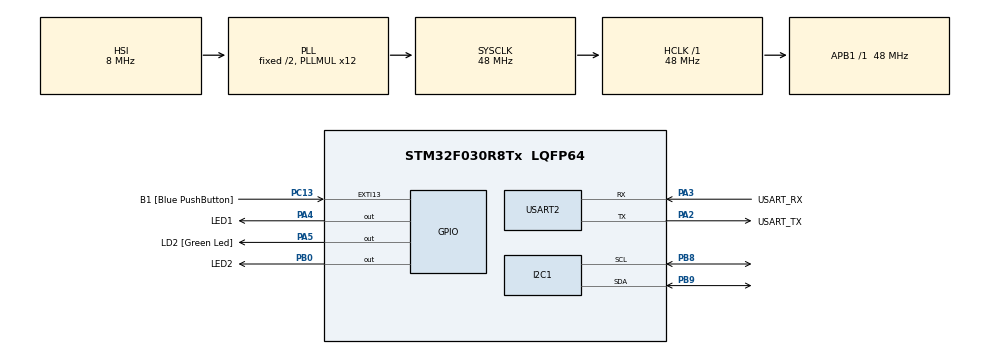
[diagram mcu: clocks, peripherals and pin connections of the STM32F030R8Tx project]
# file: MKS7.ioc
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FREERTOS.Queues01=xVisualQueue,16,int16_t,0,Dynamic,NULL,NULL
FREERTOS.Tasks01=defaultTask,0,128,StartDefaultTask,Default,NULL,Dynamic,NULL,NULL;AcceleroTask,0,128,StartAcceleroTask,Default,NULL,Dynamic,NULL,NULL;VisualTask,0,128,StartVisualTask,Default,NULL,Dynamic,NULL,NULL
FREERTOS.configUSE_NEWLIB_REENTRANT=1
I2C1.Timing=0x00201D2B
Mcu.Family=STM32F0
Mcu.Name=STM32F030R8Tx
Mcu.Package=LQFP64
NVIC.TIM14_IRQn=true\:3\:0\:false\:false\:true\:false\:false\:true\:true
NVIC.TimeBase=TIM14_IRQn
NVIC.TimeBaseIP=TIM14
PA13.GPIO_Label=TMS
PA13.Mode=Serial_Wire
PA13.Signal=SYS_SWDIO
PA14.GPIO_Label=TCK
PA14.Mode=Serial_Wire
PA14.Signal=SYS_SWCLK
PA2.GPIO_Label=USART_TX
PA2.GPIO_Mode=GPIO_MODE_AF_PP
PA2.GPIO_PuPd=GPIO_NOPULL
PA2.GPIO_Speed=GPIO_SPEED_FREQ_LOW
PA2.Mode=Asynchronous
PA2.Signal=USART2_TX
PA3.GPIO_Label=USART_RX
PA3.GPIO_Mode=GPIO_MODE_AF_PP
PA3.GPIO_PuPd=GPIO_NOPULL
PA3.GPIO_Speed=GPIO_SPEED_FREQ_LOW
PA3.Mode=Asynchronous
PA3.Signal=USART2_RX
PA4.GPIO_Label=LED1
PA4.Signal=GPIO_Output
PA5.GPIO_Label=LD2 [Green Led]
PA5.GPIO_Mode=GPIO_MODE_OUTPUT_PP
PA5.GPIO_PuPd=GPIO_NOPULL
PA5.GPIO_Speed=GPIO_SPEED_FREQ_LOW
PA5.Signal=GPIO_Output
PB0.GPIO_Label=LED2
PB0.Signal=GPIO_Output
PB8.Mode=I2C
PB8.Signal=I2C1_SCL
PB9.Mode=I2C
PB9.Signal=I2C1_SDA
PC13.GPIO_Label=B1 [Blue PushButton]
PC13.GPIO_ModeDefaultEXTI=GPIO_MODE_IT_FALLING
PC13.Signal=GPXTI13
PC14-OSC32_IN.Mode=LSE-External-Oscillator
PC14-OSC32_IN.Signal=RCC_OSC32_IN
PC15-OSC32_OUT.Mode=LSE-External-Oscillator
PC15-OSC32_OUT.Signal=RCC_OSC32_OUT
PF0-OSC_IN.Mode=HSE-External-Clock-Source
PF0-OSC_IN.Signal=RCC_OSC_IN
PF1-OSC_OUT.Signal=RCC_OSC_OUT
ProjectManager.HeapSize=0x200
ProjectManager.StackSize=0x400
ProjectManager.TargetToolchain=STM32CubeIDE
RCC.AHBFreq_Value=48000000
RCC.APB1Freq_Value=48000000
RCC.APB1TimFreq_Value=48000000
RCC.HCLKFreq_Value=48000000
RCC.PLLMUL=RCC_PLL_MUL12
RCC.SYSCLKFreq_VALUE=48000000
RCC.SYSCLKSource=RCC_SYSCLKSOURCE_PLLCLK
USART2.VirtualMode-Asynchronous=VM_ASYNC
VP_FREERTOS_VS_CMSIS_V1.Mode=CMSIS_V1
VP_SYS_VS_tim14.Mode=TIM14
board=NUCLEO-F030R8

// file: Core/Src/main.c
/* USER CODE BEGIN Header */
/**
  ******************************************************************************
  * @file           : main.c
  * @brief          : Main program body
  ******************************************************************************
  * @attention
  *
  * Copyright (c) 2025 STMicroelectronics.
  * All rights reserved.
  *
  * This software is licensed under terms that can be found in the LICENSE file
  * in the root directory of this software component.
  * If no LICENSE file comes with this software, it is provided AS-IS.
  *
  ******************************************************************************
  */
/* USER CODE END Header */
#include "main.h"
#include "cmsis_os.h"

/* USER CODE BEGIN Includes */
#include "lis2dw12_reg.h"
#include <stdio.h>
/* USER CODE END Includes */

I2C_HandleTypeDef hi2c1;

UART_HandleTypeDef huart2;

osThreadId defaultTaskHandle;
osThreadId AcceleroTaskHandle;
osThreadId VisualTaskHandle;
osMessageQId xVisualQueueHandle;

void SystemClock_Config(void);
static void MX_GPIO_Init(void);
static void MX_USART2_UART_Init(void);
static void MX_I2C1_Init(void);
void StartDefaultTask(void const * argument);
void StartAcceleroTask(void const * argument);
void StartVisualTask(void const * argument);

/* USER CODE BEGIN PFP */
static int32_t platform_write(void *handle, uint8_t reg, uint8_t *bufp, uint16_t len);
static int32_t platform_read(void *handle, uint8_t reg, uint8_t *bufp, uint16_t len);
static stmdev_ctx_t lis2dw12 = {
 .write_reg = platform_write,
 .read_reg = platform_read,
 .handle = &hi2c1,
};

static int32_t platform_write(void *handle, uint8_t reg, uint8_t *bufp, uint16_t len)
{
	HAL_I2C_Mem_Write(handle, LIS2DW12_I2C_ADD_H, reg, I2C_MEMADD_SIZE_8BIT, bufp, len, 1000);
	return 0;
}
static int32_t platform_read(void *handle, uint8_t reg, uint8_t *bufp, uint16_t len)
{
	HAL_I2C_Mem_Read(handle, LIS2DW12_I2C_ADD_H, reg, I2C_MEMADD_SIZE_8BIT, bufp, len, 1000);
	return 0;
}
/* USER CODE END PFP */

int _write(int file, char const *buf, int n)
{
	/* stdout redirection to UART2 */
	HAL_UART_Transmit(&huart2, (uint8_t*)(buf), n, HAL_MAX_DELAY);
	return n;
}

int main(void)
{

  /* MCU Configuration--------------------------------------------------------*/

  /* Reset of all peripherals, Initializes the Flash interface and the Systick. */
  HAL_Init();

  /* Configure the system clock */
  SystemClock_Config();

  /* Initialize all configured peripherals */
  MX_GPIO_Init();
  MX_USART2_UART_Init();
  MX_I2C1_Init();

  /* Create the queue(s) */
  /* definition and creation of xVisualQueue */
  osMessageQDef(xVisualQueue, 16, int16_t);
  xVisualQueueHandle = osMessageCreate(osMessageQ(xVisualQueue), NULL);

  /* Create the thread(s) */
  /* definition and creation of defaultTask */
  osThreadDef(defaultTask, StartDefaultTask, osPriorityNormal, 0, 128);
  defaultTaskHandle = osThreadCreate(osThread(defaultTask), NULL);

  /* definition and creation of AcceleroTask */
  osThreadDef(AcceleroTask, StartAcceleroTask, osPriorityNormal, 0, 128);
  AcceleroTaskHandle = osThreadCreate(osThread(AcceleroTask), NULL);

  /* definition and creation of VisualTask */
  osThreadDef(VisualTask, StartVisualTask, osPriorityNormal, 0, 128);
  VisualTaskHandle = osThreadCreate(osThread(VisualTask), NULL);

  /* Start scheduler */
  osKernelStart();

  /* We should never get here as control is now taken by the scheduler */

  /* Infinite loop */
  while (1)
  {

  }
}

void SystemClock_Config(void)
{
  RCC_OscInitTypeDef RCC_OscInitStruct = {0};
  RCC_ClkInitTypeDef RCC_ClkInitStruct = {0};
  RCC_PeriphCLKInitTypeDef PeriphClkInit = {0};

  /** Initializes the RCC Oscillators according to the specified parameters
  * in the RCC_OscInitTypeDef structure.
  */
  RCC_OscInitStruct.OscillatorType = RCC_OSCILLATORTYPE_HSI;
  RCC_OscInitStruct.HSIState = RCC_HSI_ON;
  RCC_OscInitStruct.HSICalibrationValue = RCC_HSICALIBRATION_DEFAULT;
  RCC_OscInitStruct.PLL.PLLState = RCC_PLL_ON;
  RCC_OscInitStruct.PLL.PLLSource = RCC_PLLSOURCE_HSI;
  RCC_OscInitStruct.PLL.PLLMUL = RCC_PLL_MUL12;
  RCC_OscInitStruct.PLL.PREDIV = RCC_PREDIV_DIV1;
  if (HAL_RCC_OscConfig(&RCC_OscInitStruct) != HAL_OK)
  {
    Error_Handler();
  }

  /** Initializes the CPU, AHB and APB buses clocks
  */
  RCC_ClkInitStruct.ClockType = RCC_CLOCKTYPE_HCLK|RCC_CLOCKTYPE_SYSCLK
                              |RCC_CLOCKTYPE_PCLK1;
  RCC_ClkInitStruct.SYSCLKSource = RCC_SYSCLKSOURCE_PLLCLK;
  RCC_ClkInitStruct.AHBCLKDivider = RCC_SYSCLK_DIV1;
  RCC_ClkInitStruct.APB1CLKDivider = RCC_HCLK_DIV1;

  if (HAL_RCC_ClockConfig(&RCC_ClkInitStruct, FLASH_LATENCY_1) != HAL_OK)
  {
    Error_Handler();
  }
  PeriphClkInit.PeriphClockSelection = RCC_PERIPHCLK_I2C1;
  PeriphClkInit.I2c1ClockSelection = RCC_I2C1CLKSOURCE_HSI;
  if (HAL_RCCEx_PeriphCLKConfig(&PeriphClkInit) != HAL_OK)
  {
    Error_Handler();
  }
}

static void MX_I2C1_Init(void)
{

  hi2c1.Instance = I2C1;
  hi2c1.Init.Timing = 0x00201D2B;
  hi2c1.Init.OwnAddress1 = 0;
  hi2c1.Init.AddressingMode = I2C_ADDRESSINGMODE_7BIT;
  hi2c1.Init.DualAddressMode = I2C_DUALADDRESS_DISABLE;
  hi2c1.Init.OwnAddress2 = 0;
  hi2c1.Init.OwnAddress2Masks = I2C_OA2_NOMASK;
  hi2c1.Init.GeneralCallMode = I2C_GENERALCALL_DISABLE;
  hi2c1.Init.NoStretchMode = I2C_NOSTRETCH_DISABLE;
  if (HAL_I2C_Init(&hi2c1) != HAL_OK)
  {
    Error_Handler();
  }

  /** Configure Analogue filter
  */
  if (HAL_I2CEx_ConfigAnalogFilter(&hi2c1, I2C_ANALOGFILTER_ENABLE) != HAL_OK)
  {
    Error_Handler();
  }

  /** Configure Digital filter
  */
  if (HAL_I2CEx_ConfigDigitalFilter(&hi2c1, 0) != HAL_OK)
  {
    Error_Handler();
  }

}

static void MX_USART2_UART_Init(void)
{

  huart2.Instance = USART2;
  huart2.Init.BaudRate = 38400;
  huart2.Init.WordLength = UART_WORDLENGTH_8B;
  huart2.Init.StopBits = UART_STOPBITS_1;
  huart2.Init.Parity = UART_PARITY_NONE;
  huart2.Init.Mode = UART_MODE_TX_RX;
  huart2.Init.HwFlowCtl = UART_HWCONTROL_NONE;
  huart2.Init.OverSampling = UART_OVERSAMPLING_16;
  huart2.Init.OneBitSampling = UART_ONE_BIT_SAMPLE_DISABLE;
  huart2.AdvancedInit.AdvFeatureInit = UART_ADVFEATURE_NO_INIT;
  if (HAL_UART_Init(&huart2) != HAL_OK)
  {
    Error_Handler();
  }

}

static void MX_GPIO_Init(void)
{
  GPIO_InitTypeDef GPIO_InitStruct = {0};

  /* GPIO Ports Clock Enable */
  __HAL_RCC_GPIOC_CLK_ENABLE();
  __HAL_RCC_GPIOF_CLK_ENABLE();
  __HAL_RCC_GPIOA_CLK_ENABLE();
  __HAL_RCC_GPIOB_CLK_ENABLE();

  /*Configure GPIO pin Output Level */
  HAL_GPIO_WritePin(GPIOA, LED1_Pin|LD2_Pin, GPIO_PIN_RESET);

  /*Configure GPIO pin Output Level */
  HAL_GPIO_WritePin(LED2_GPIO_Port, LED2_Pin, GPIO_PIN_RESET);

  /*Configure GPIO pin : B1_Pin */
  GPIO_InitStruct.Pin = B1_Pin;
  GPIO_InitStruct.Mode = GPIO_MODE_IT_FALLING;
  GPIO_InitStruct.Pull = GPIO_NOPULL;
  HAL_GPIO_Init(B1_GPIO_Port, &GPIO_InitStruct);

  /*Configure GPIO pins : LED1_Pin LD2_Pin */
  GPIO_InitStruct.Pin = LED1_Pin|LD2_Pin;
  GPIO_InitStruct.Mode = GPIO_MODE_OUTPUT_PP;
  GPIO_InitStruct.Pull = GPIO_NOPULL;
  GPIO_InitStruct.Speed = GPIO_SPEED_FREQ_LOW;
  HAL_GPIO_Init(GPIOA, &GPIO_InitStruct);

  /*Configure GPIO pin : LED2_Pin */
  GPIO_InitStruct.Pin = LED2_Pin;
  GPIO_InitStruct.Mode = GPIO_MODE_OUTPUT_PP;
  GPIO_InitStruct.Pull = GPIO_NOPULL;
  GPIO_InitStruct.Speed = GPIO_SPEED_FREQ_LOW;
  HAL_GPIO_Init(LED2_GPIO_Port, &GPIO_InitStruct);

}

void StartDefaultTask(void const * argument)
{
  for(;;)
  {
    osDelay(1);
  }
}

void StartAcceleroTask(void const * argument)
{
	/* USER CODE BEGIN StartAcceleroTask */
	lis2dw12_full_scale_set(&lis2dw12, LIS2DW12_2g);
	lis2dw12_power_mode_set(&lis2dw12, LIS2DW12_CONT_LOW_PWR_LOW_NOISE_2);
	lis2dw12_block_data_update_set(&lis2dw12, PROPERTY_ENABLE);
	// enable continuous FIFO
	lis2dw12_fifo_mode_set(&lis2dw12, LIS2DW12_STREAM_MODE);
	// enable part from power-down
	lis2dw12_data_rate_set(&lis2dw12, LIS2DW12_XL_ODR_25Hz);

	/* Infinite loop */
	for(;;)
	{
		// Check device ID
		//uint8_t whoamI = 0;
		//lis2dw12_device_id_get(&lis2dw12, &whoamI);
		//printf("LIS2DW12_ID %s\r\n", (whoamI == LIS2DW12_ID) ? "OK" : "FAIL");

		uint8_t samples;
		int16_t raw_acceleration[3];
		lis2dw12_fifo_data_level_get(&lis2dw12, &samples);
		for (uint8_t i = 0; i < samples; i++) {
		 // Read acceleration data
		 lis2dw12_acceleration_raw_get(&lis2dw12, raw_acceleration);
		 printf("X=%d Y=%d Z=%d\r\n", raw_acceleration[0], raw_acceleration[1], raw_acceleration[2]);
		}

		xQueueSend(xVisualQueueHandle, &raw_acceleration, 0);
		vTaskDelay(50);
	}
	/* USER CODE END StartAcceleroTask */
}

void StartVisualTask(void const * argument)
{
  /* USER CODE BEGIN StartVisualTask */
  /* Infinite loop */
  for(;;)
  {
	  int16_t msg;
	  if (xQueueReceive(xVisualQueueHandle, &msg, portMAX_DELAY)) {
		  if (msg / 1000 >= 1) {
			  HAL_GPIO_WritePin(LED2_GPIO_Port, LED2_Pin, GPIO_PIN_SET);
			  HAL_GPIO_WritePin(LED1_GPIO_Port, LED1_Pin, GPIO_PIN_RESET);
		  } else if (msg / 1000 <= -1) {
			  HAL_GPIO_WritePin(LED1_GPIO_Port, LED1_Pin, GPIO_PIN_SET);
			  HAL_GPIO_WritePin(LED2_GPIO_Port, LED2_Pin, GPIO_PIN_RESET);
		  } else {
			  HAL_GPIO_WritePin(LED1_GPIO_Port, LED1_Pin, GPIO_PIN_RESET);
			  HAL_GPIO_WritePin(LED2_GPIO_Port, LED2_Pin, GPIO_PIN_RESET);
		  }
	  }

	  osDelay(1);
  }
  /* USER CODE END StartVisualTask */
}

void HAL_TIM_PeriodElapsedCallback(TIM_HandleTypeDef *htim)
{
  if (htim->Instance == TIM14)
  {
    HAL_IncTick();
  }
}

void Error_Handler(void)
{
  __disable_irq();
  while (1)
  {
  }
}
